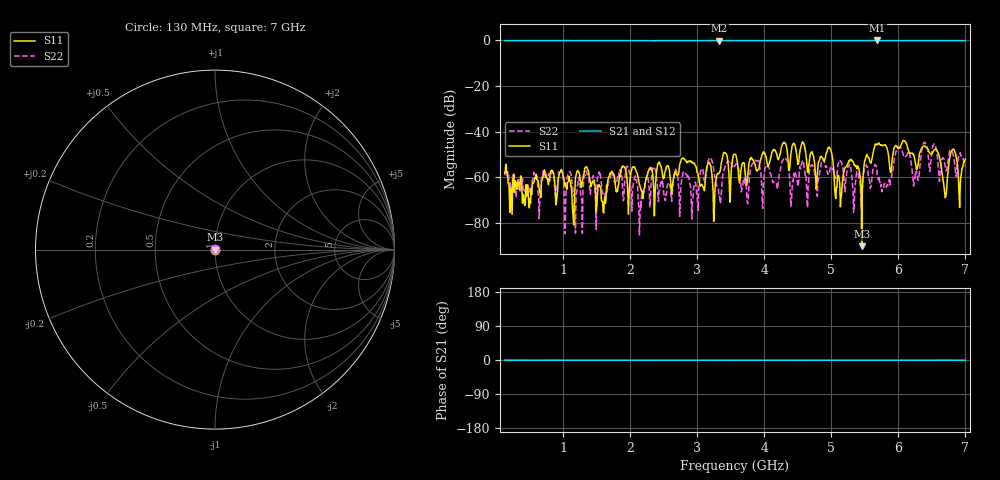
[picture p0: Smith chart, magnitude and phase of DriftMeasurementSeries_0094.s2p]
# Hz S RI R 50.000000
! Metas.Vna.Tools, 2.8.8664.20301
! Metas.Vna.Data, 2.8.8664.20285
! Created: UTC 2024.02.11 10:08:53
! FREQ  re:S1,1  im:S1,1  re:S2,1  im:S2,1  re:S1,2  im:S1,2  re:S2,2  im:S2,2
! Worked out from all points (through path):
!   801 points, 130 MHz to 7 GHz, reference 50 ohm
!   highest |S21| = -0.02 dB at 5.686 GHz (marker M1); lowest = -0.2 dB at 3.333 GHz (marker M2)
!   lowest |S11| = -90.3 dB at 5.454 GHz (marker M3), VSWR 1.00, Z = 50 - j0.00299 ohm
!   |S11| at or under -10 dB: start of sweep to end of sweep
!   |S22| runs from -85.4 to -44.7 dB; largest |S21 - S12| = 0.018
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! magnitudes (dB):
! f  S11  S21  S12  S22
! 130 MHz  -58.3  -0.1  0.0  -59.2
! 1.281 GHz  -64.1  -0.1  0.0  -70.7
! 1.607 GHz  -75.7  -0.1  0.0  -68.7
! 1.719 GHz  -58.0  -0.1  0.0  -57.7
! 2.423 GHz  -53.9  -0.1  0.0  -70.7
! 2.938 GHz  -53.9  -0.1  0.0  -69.7
! 3.196 GHz  -54.7  -0.1  0.0  -51.6
! 3.333 GHz  -58.0  -0.2  0.0  -67.3
! 3.565 GHz  -49.9  -0.1  0.0  -54.8
! 3.737 GHz  -63.6  -0.1  0.0  -65.4
! 3.874 GHz  -55.9  -0.1  0.0  -52.9
! 4.716 GHz  -48.9  -0.1  0.0  -54.5
! 5.454 GHz  -90.3  -0.1  0.0  -70.7
! 5.686 GHz  -45.8  0.0  0.0  -59.6
! 5.858 GHz  -51.5  0.0  0.0  -63.0
! 6.004 GHz  -47.4  -0.1  0.0  -46.9
! 6.261 GHz  -55.1  -0.1  0.0  -58.7
! 6.39 GHz  -46.4  -0.1  0.0  -44.8
! 6.571 GHz  -47.9  -0.1  0.0  -48.6
! 6.699 GHz  -69.0  -0.1  0.0  -55.2
! 6.802 GHz  -48.3  -0.1  0.0  -48.9
! 7 GHz  -52.0  -0.1  0.0  -55.3
